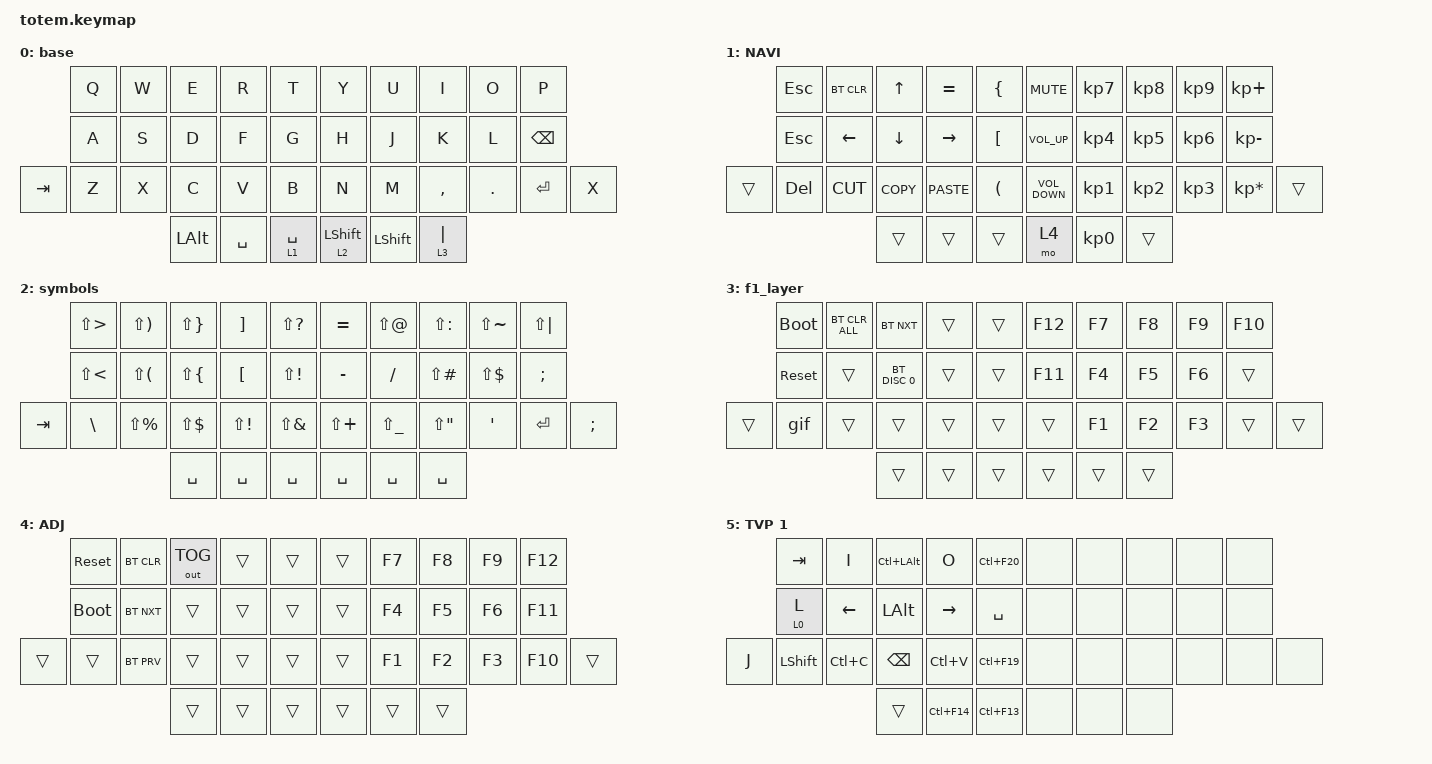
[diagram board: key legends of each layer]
//
//                                                        ▀▀▀▀▀     ▀▀▀▀▀          ▀▀█▀▀
//                                                        ▄▀▀▀▄  ▄  ▄▀▀▀▄  ▄  ▄▀▀▀▄  █  ▄▀▀▀▄
//                                                        █   █  █  █   █  █  █   █  █  █   █
//                                                         ▀▀▀   █   ▀▀▀   █   ▀▀▀   ▀   ▀▀▀
//                                                               █      ▄▄▄█▄▄▄    █   █  
//                                                               ▀      █  █  █     █▄█
//                                                             ▀▀▀▀▀    █  █  █      ▀
//                                                                      ▀  ▀  ▀
//
// ▄▄▄▄▄▄▄▄▄▄▄▄▄▄▄▄▄▄▄▄▄▄▄▄▄▄▄▄▄▄▄▄▄▄▄▄▄▄▄▄▄▄▄▄▄▄▄▄▄▄▄▄▄▄▄▄▄▄▄▄▄▄▄▄▄▄▄▄▄▄▄▄▄▄▄▄▄▄▄▄▄▄▄▄▄▄▄▄▄▄▄▄▄▄▄▄▄▄▄▄▄▄▄▄▄▄▄▄▄▄▄▄▄▄▄▄▄▄▄▄▄▄▄▄▄▄▄▄▄▄▄▄▄▄▄▄▄▄▄▄▄▄▄▄▄▄▄▄▄

#include <behaviors.dtsi>
#include <dt-bindings/zmk/bt.h>
#include <dt-bindings/zmk/keys.h>
#include <dt-bindings/zmk/outputs.h>

#define BASE 0
#define NAV  1
#define SYM  2
#define ADJ  3
#define TVP1 4
#define TVP2 5

&mt {
    quick-tap-ms = <100>;
    global-quick-tap;
    flavor = "tap-preferred";
    tapping-term-ms = <170>;
};

/ {
    combos {
        compatible = "zmk,combos";

        combo_esc {
            timeout-ms = <50>;
            key-positions = <0 1>;
            bindings = <&kp ESC>;
        };
    };

    macros {
        gif: gif {
            label = "giphy";
            compatible = "zmk,behavior-macro";
            #binding-cells = <0>;
            bindings =
                <&macro_press>,
                <&kp LSHFT>,
                <&macro_tap>,
                <&kp N2>,
                <&macro_release>,
                <&kp LSHFT>,
                <&macro_tap>,
                <&kp G &kp I &kp F>;
        };
    };

    keymap {
        compatible = "zmk,keymap";

        // ▄▄▄▄▄▄▄▄▄▄▄▄▄▄▄▄▄▄▄▄▄▄▄▄▄▄▄▄▄▄▄▄▄▄▄▄▄▄▄▄▄▄▄▄▄▄▄▄▄▄▄▄▄▄▄▄▄▄▄▄▄▄▄▄▄▄▄▄▄▄▄▄▄▄▄▄▄▄▄▄▄▄▄▄▄▄▄▄▄▄▄▄▄▄▄▄▄▄▄▄▄▄▄▄▄▄▄▄▄▄▄▄▄▄▄▄▄▄▄▄▄▄▄▄▄▄▄▄▄▄▄▄▄▄▄▄▄▄▄▄▄▄▄▄▄▄▄▄▄
        // ▄▄▄▄▄▄▄▄▄▄▄▄▄▄▄▄▄▄▄▄▄▄▄▄▄▄▄▄▄▄▄▄▄▄▄▄▄▄▄▄▄▄▄▄▄▄▄▄▄▄▄▄▄▄▄▄▄▄▄▄▄▄▄▄▄▄▄▄▄▄▄▄▄▄▄▄▄▄▄▄▄▄▄▄▄▄▄▄▄▄▄▄▄▄▄▄▄▄▄▄▄▄▄▄▄▄▄▄▄▄▄▄▄▄▄▄▄▄▄▄▄▄▄▄▄▄▄▄▄▄▄▄▄▄▄▄▄▄▄▄▄▄▄▄▄▄▄▄▄

        base {
            bindings = <
         &kp Q  &kp W  &kp E         &kp R      &kp T          &kp Y             &kp U      &kp I       &kp O    &kp P
         &kp A  &kp S  &kp D         &kp F      &kp G          &kp H             &kp J      &kp K       &kp L    &kp BSPC
&kp TAB  &kp Z  &kp X  &kp C         &kp V      &kp B          &kp N             &kp M      &kp COMMA   &kp DOT  &kp RET   &kp X
                       &kp LEFT_ALT  &kp SPACE  &lt 1 SPACE    &lt 2 LEFT_SHIFT  &kp LSHFT  &lt 3 PIPE
            >;
        };

        nav_layer {
            // ┏━━━━━━━━━━━━━━━━━━━━━━━━━━━━━━━━━━━━━━━┓

            label = "NAVI";

            // ┗━━━━━━━━━━━━━━━━━━━━━━━━━━━━━━━━━━━━━━━┛
            //             ┏━━━━━━━━━━━┳━━━━━━━━━━━┳━━━━━━━━━━━┳━━━━━━━━━━━┳━━━━━━━━━━━┓   ┏━━━━━━━━━━━┳━━━━━━━━━━━┳━━━━━━━━━━━┳━━━━━━━━━━━┳━━━━━━━━━━━┓
            //             ┃           ┃           ┃     UP    ┃           ┃     {     ┃   ┃     }     ┃     7     ┃     8     ┃     9     ┃     +     ┃
            //             ┣━━━━━━━━━━━╋━━━━━━━━━━━╋━━━━━━━━━━━╋━━━━━━━━━━━╋━━━━━━━━━━━┫   ┣━━━━━━━━━━━╋━━━━━━━━━━━╋━━━━━━━━━━━╋━━━━━━━━━━━╋━━━━━━━━━━━┫
            //             ┃   SHIFT   ┃   LEFT    ┃    DOWN   ┃   RIGHT   ┃     [     ┃   ┃     ]     ┃     4     ┃     5     ┃     6     ┃     -     ┃
            // ┏━━━━━━━━━━━╋━━━━━━━━━━━╋━━━━━━━━━━━╋━━━━━━━━━━━╋━━━━━━━━━━━╋━━━━━━━━━━━┫   ┣━━━━━━━━━━━╋━━━━━━━━━━━╋━━━━━━━━━━━╋━━━━━━━━━━━╋━━━━━━━━━━━╋━━━━━━━━━━━┓
            // ┃           ┃           ┃   P UP    ┃  C LOCK   ┃  P DOWN   ┃     (     ┃   ┃     )     ┃     1     ┃     2     ┃     3     ┃     *     ┃           ┃
            // ┗━━━━━━━━━━━┻━━━━━━━━━━━┻━━━━━━━━━━━╋━━━━━━━━━━━╋━━━━━━━━━━━╋━━━━━━━━━━━┫   ┣━━━━━━━━━━━╋━━━━━━━━━━━╋━━━━━━━━━━━╋━━━━━━━━━━━┻━━━━━━━━━━━┻━━━━━━━━━━━┛
            //                                     ┃           ┃    TAB    ┃    SPC    ┃   ┃    DEL    ┃     0     ┃           ┃
            //                                     ┗━━━━━━━━━━━┻━━━━━━━━━━━┻━━━━━━━━━━━┛   ┗━━━━━━━━━━━┻━━━━━━━━━━━┻━━━━━━━━━━━┛

            bindings = <
        &kp ESC  &bt BT_CLR  &kp UP      &kp EQUAL    &kp LBRC    &kp K_MUTE         &kp KP_N7        &kp KP_N8  &kp KP_N9  &kp KP_PLUS
        &kp ESC  &kp LEFT    &kp DOWN    &kp RIGHT    &kp LBKT    &kp C_VOLUME_UP    &kp KP_N4        &kp KP_N5  &kp KP_N6  &kp KP_MINUS
&trans  &kp DEL  &kp K_CUT   &kp K_COPY  &kp K_PASTE  &kp LPAR    &kp C_VOLUME_DOWN  &kp KP_NUMBER_1  &kp KP_N2  &kp KP_N3  &kp KP_MULTIPLY  &trans
                             &trans      &trans       &trans      &mo 4              &kp KP_N0        &trans
            >;
        };

        symbols {
            bindings = <
         &kp LS(GT)  &kp LS(RPAR)   &kp LS(RBRC)  &kp RBKT      &kp LS(QMARK)    &kp EQUAL     &kp LS(AT)     &kp LS(COLON)  &kp LS(TILDE)  &kp LS(PIPE)
         &kp LS(LT)  &kp LS(LPAR)   &kp LS(LBRC)  &kp LBKT      &kp LS(EXCL)     &kp MINUS     &kp FSLH       &kp LS(POUND)  &kp LS(DLLR)   &kp SEMI
&kp TAB  &kp BSLH    &kp LS(PRCNT)  &kp LS(DLLR)  &kp LS(EXCL)  &kp LS(AMPS)     &kp LS(PLUS)  &kp LS(UNDER)  &kp LS(DQT)    &kp SQT        &kp RET       &kp SEMI
                                    &kp SPACE     &kp SPACE     &kp SPACE        &kp SPACE     &kp SPACE      &kp SPACE
            >;
        };

        f1_layer {
            bindings = <
        &bootloader  &bt BT_CLR_ALL  &bt BT_NXT     &trans  &trans    &kp F12  &kp F7  &kp F8  &kp F9  &kp F10
        &sys_reset   &trans          &bt BT_DISC 0  &trans  &trans    &kp F11  &kp F4  &kp F5  &kp F6  &trans
&trans  &gif         &trans          &trans         &trans  &trans    &trans   &kp F1  &kp F2  &kp F3  &trans   &trans
                                     &trans         &trans  &trans    &trans   &trans  &trans
            >;
        };

        adjust_layer {
            // ┏━━━━━━━━━━━━━━━━━━━━━━━━━━━━━━━━━━━━━━━┓

            label = "ADJ";

            // ┗━━━━━━━━━━━━━━━━━━━━━━━━━━━━━━━━━━━━━━━┛
            //             ┏━━━━━━━━━━━┳━━━━━━━━━━━┳━━━━━━━━━━━┳━━━━━━━━━━━┳━━━━━━━━━━━┓   ┏━━━━━━━━━━━┳━━━━━━━━━━━┳━━━━━━━━━━━┳━━━━━━━━━━━┳━━━━━━━━━━━┓
            //             ┃   RESET   ┃ BT CLEAR  ┃  OUT TOG  ┃           ┃           ┃   ┃           ┃    F7     ┃    F8     ┃    F9     ┃    F12    ┃
            //             ┣━━━━━━━━━━━╋━━━━━━━━━━━╋━━━━━━━━━━━╋━━━━━━━━━━━╋━━━━━━━━━━━┫   ┣━━━━━━━━━━━╋━━━━━━━━━━━╋━━━━━━━━━━━╋━━━━━━━━━━━╋━━━━━━━━━━━┫
            //             ┃ BOOTLOAD  ┃ BT NEXT   ┃           ┃           ┃           ┃   ┃           ┃    F4     ┃    F5     ┃    F6     ┃    F11    ┃
            // ┏━━━━━━━━━━━╋━━━━━━━━━━━╋━━━━━━━━━━━╋━━━━━━━━━━━╋━━━━━━━━━━━╋━━━━━━━━━━━┫   ┣━━━━━━━━━━━╋━━━━━━━━━━━╋━━━━━━━━━━━╋━━━━━━━━━━━╋━━━━━━━━━━━╋━━━━━━━━━━━┓
            // ┃           ┃           ┃ BT PREV   ┃           ┃           ┃           ┃   ┃           ┃    F1     ┃    F2     ┃    F3     ┃    F10    ┃           ┃
            // ┗━━━━━━━━━━━┻━━━━━━━━━━━┻━━━━━━━━━━━╋━━━━━━━━━━━╋━━━━━━━━━━━╋━━━━━━━━━━━┫   ┣━━━━━━━━━━━╋━━━━━━━━━━━╋━━━━━━━━━━━╋━━━━━━━━━━━┻━━━━━━━━━━━┻━━━━━━━━━━━┛
            //                                     ┃           ┃           ┃           ┃   ┃           ┃           ┃           ┃
            //                                     ┗━━━━━━━━━━━┻━━━━━━━━━━━┻━━━━━━━━━━━┛   ┗━━━━━━━━━━━┻━━━━━━━━━━━┻━━━━━━━━━━━┛

            bindings = <
        &sys_reset   &bt BT_CLR  &out OUT_TOG  &trans  &trans    &trans  &kp F7  &kp F8  &kp F9  &kp F12
        &bootloader  &bt BT_NXT  &trans        &trans  &trans    &trans  &kp F4  &kp F5  &kp F6  &kp F11
&trans  &trans       &bt BT_PRV  &trans        &trans  &trans    &trans  &kp F1  &kp F2  &kp F3  &kp F10  &trans
                                 &trans        &trans  &trans    &trans  &trans  &trans
            >;
        };

        tvp1_layer {
            // ┏━━━━━━━━━━━━━━━━━━━━━━━━━━━━━━━━━━━━━━━┓

            label = "TVP 1";

            // ┗━━━━━━━━━━━━━━━━━━━━━━━━━━━━━━━━━━━━━━━┛
            //             ┏━━━━━━━━━━━┳━━━━━━━━━━━┳━━━━━━━━━━━┳━━━━━━━━━━━┳━━━━━━━━━━━┓   ┏━━━━━━━━━━━┳━━━━━━━━━━━┳━━━━━━━━━━━┳━━━━━━━━━━━┳━━━━━━━━━━━┓
            //             ┃ NEXT FILE ┃ MARK IN   ┃ ROTATE    ┃ MARK OUT  ┃ SHOW SNAP ┃   ┃           ┃           ┃           ┃           ┃           ┃
            //             ┣━━━━━━━━━━━╋━━━━━━━━━━━╋━━━━━━━━━━━╋━━━━━━━━━━━╋━━━━━━━━━━━┫   ┣━━━━━━━━━━━╋━━━━━━━━━━━╋━━━━━━━━━━━╋━━━━━━━━━━━╋━━━━━━━━━━━┫
            //             ┃ TVP II    ┃ LEFT      ┃ PAN       ┃ RIGHT     ┃ PLAY/FLIP ┃   ┃           ┃           ┃           ┃           ┃           ┃
            // ┏━━━━━━━━━━━╋━━━━━━━━━━━╋━━━━━━━━━━━╋━━━━━━━━━━━╋━━━━━━━━━━━╋━━━━━━━━━━━┫   ┣━━━━━━━━━━━╋━━━━━━━━━━━╋━━━━━━━━━━━╋━━━━━━━━━━━╋━━━━━━━━━━━╋━━━━━━━━━━━┓
            // ┃ FULLSCR   ┃ SHIFT     ┃ COPY      ┃ DELETE    ┃ PASTE     ┃ IMG MARK  ┃   ┃           ┃           ┃           ┃           ┃           ┃           ┃
            // ┗━━━━━━━━━━━┻━━━━━━━━━━━┻━━━━━━━━━━━╋━━━━━━━━━━━╋━━━━━━━━━━━╋━━━━━━━━━━━┫   ┣━━━━━━━━━━━╋━━━━━━━━━━━╋━━━━━━━━━━━╋━━━━━━━━━━━┻━━━━━━━━━━━┻━━━━━━━━━━━┛
            //                                     ┃           ┃ UNDO/SAVE ┃  SEL/MOV  ┃   ┃           ┃           ┃           ┃
            //                                     ┗━━━━━━━━━━━┻━━━━━━━━━━━┻━━━━━━━━━━━┛   ┗━━━━━━━━━━━┻━━━━━━━━━━━┻━━━━━━━━━━━┛

            bindings = <
       &kp TAB    &kp I      &kp LC(LALT)  &kp O        &kp LC(F20)    &none  &none  &none  &none  &none
       &lt 0 L    &kp LEFT   &kp LALT      &kp RIGHT    &kp SPACE      &none  &none  &none  &none  &none
&kp J  &kp LSHFT  &kp LC(C)  &kp BSPC      &kp LC(V)    &kp LC(F19)    &none  &none  &none  &none  &none  &none
                             &trans        &kp LC(F14)  &kp LC(F13)    &none  &none  &none
            >;
        };
    };
};
